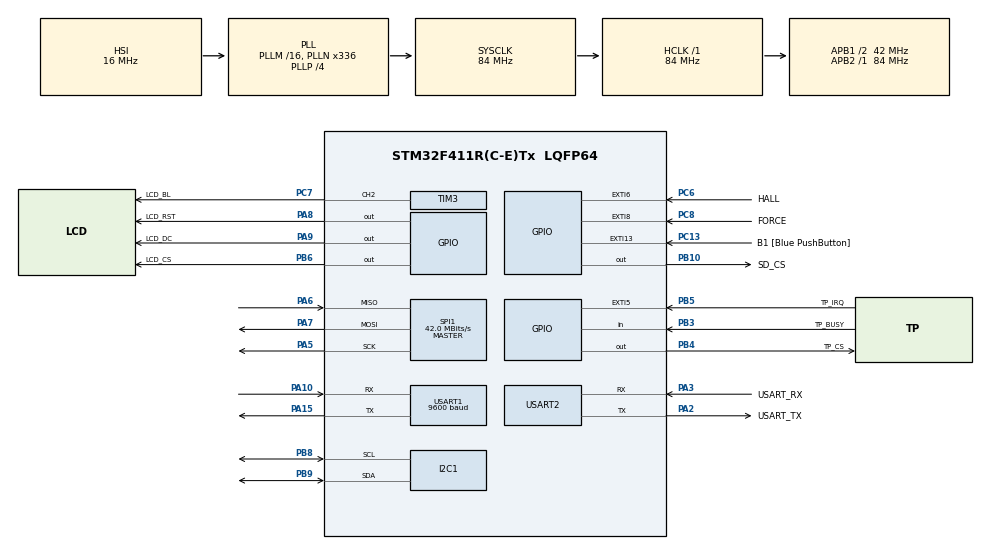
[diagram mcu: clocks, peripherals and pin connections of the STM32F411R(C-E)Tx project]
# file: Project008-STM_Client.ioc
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Mcu.Family=STM32F4
Mcu.Name=STM32F411R(C-E)Tx
Mcu.Package=LQFP64
NVIC.EXTI15_10_IRQn=true\:0\:0\:false\:false\:true\:true\:true\:true
NVIC.EXTI9_5_IRQn=true\:0\:0\:false\:false\:true\:true\:true\:true
NVIC.PriorityGroup=NVIC_PRIORITYGROUP_0
NVIC.USART1_IRQn=true\:0\:0\:false\:false\:true\:true\:true\:true
NVIC.USART2_IRQn=true\:0\:0\:false\:false\:true\:true\:true\:true
PA10.Mode=Asynchronous
PA10.Signal=USART1_RX
PA13.GPIO_Label=TMS
PA13.Mode=Serial_Wire
PA13.Signal=SYS_JTMS-SWDIO
PA14.GPIO_Label=TCK
PA14.Mode=Serial_Wire
PA14.Signal=SYS_JTCK-SWCLK
PA15.Mode=Asynchronous
PA15.Signal=USART1_TX
PA2.GPIO_Label=USART_TX
PA2.Mode=Asynchronous
PA2.Signal=USART2_TX
PA3.GPIO_Label=USART_RX
PA3.Mode=Asynchronous
PA3.Signal=USART2_RX
PA5.Mode=Full_Duplex_Master
PA5.Signal=SPI1_SCK
PA6.Mode=Full_Duplex_Master
PA6.Signal=SPI1_MISO
PA7.Mode=Full_Duplex_Master
PA7.Signal=SPI1_MOSI
PA8.GPIO_Label=LCD_RST
PA8.Signal=GPIO_Output
PA9.GPIO_Label=LCD_DC
PA9.Signal=GPIO_Output
PB10.GPIO_Label=SD_CS
PB10.Signal=GPIO_Output
PB3.GPIO_Label=TP_BUSY
PB3.Signal=GPIO_Input
PB4.GPIO_Label=TP_CS
PB4.Signal=GPIO_Output
PB5.GPIO_Label=TP_IRQ
PB5.GPIO_ModeDefaultEXTI=GPIO_MODE_IT_FALLING
PB5.GPIO_PuPd=GPIO_PULLUP
PB5.Signal=GPXTI5
PB6.GPIO_Label=LCD_CS
PB6.Signal=GPIO_Output
PB8.GPIO_Pu=GPIO_PULLUP
PB8.Mode=I2C
PB8.Signal=I2C1_SCL
PB9.GPIO_Pu=GPIO_PULLUP
PB9.Mode=I2C
PB9.Signal=I2C1_SDA
PC13-ANTI_TAMP.GPIO_Label=B1 [Blue PushButton]
PC13-ANTI_TAMP.GPIO_ModeDefaultEXTI=GPIO_MODE_IT_RISING
PC13-ANTI_TAMP.Signal=GPXTI13
PC14-OSC32_IN.Mode=LSE-External-Oscillator
PC14-OSC32_IN.Signal=RCC_OSC32_IN
PC15-OSC32_OUT.Mode=LSE-External-Oscillator
PC15-OSC32_OUT.Signal=RCC_OSC32_OUT
PC6.GPIO_Label=HALL
PC6.GPIO_ModeDefaultEXTI=GPIO_MODE_IT_RISING_FALLING
PC6.Signal=GPXTI6
PC7.GPIO_Label=LCD_BL
PC7.Signal=S_TIM3_CH2
PC8.GPIO_Label=FORCE
PC8.GPIO_ModeDefaultEXTI=GPIO_MODE_IT_RISING_FALLING
PC8.Signal=GPXTI8
PH0\ -\ OSC_IN.Mode=HSE-External-Clock-Source
PH0\ -\ OSC_IN.Signal=RCC_OSC_IN
PH1\ -\ OSC_OUT.Mode=HSE-External-Clock-Source
PH1\ -\ OSC_OUT.Signal=RCC_OSC_OUT
ProjectManager.HeapSize=0x200
ProjectManager.StackSize=0x400
ProjectManager.TargetToolchain=STM32CubeIDE
RCC.48MHZClocksFreq_Value=84000000
RCC.AHBFreq_Value=84000000
RCC.APB1CLKDivider=RCC_HCLK_DIV2
RCC.APB1Freq_Value=42000000
RCC.APB1TimFreq_Value=84000000
RCC.APB2Freq_Value=84000000
RCC.APB2TimFreq_Value=84000000
RCC.CortexFreq_Value=84000000
RCC.FLatency-AdvancedSettings=FLASH_LATENCY_2
RCC.HCLKFreq_Value=84000000
RCC.HSE_VALUE=8000000
RCC.HSI_VALUE=16000000
RCC.PLLN=336
RCC.PLLP=RCC_PLLP_DIV4
RCC.SYSCLKFreq_VALUE=84000000
RCC.SYSCLKSource=RCC_SYSCLKSOURCE_PLLCLK
RCC.VCOOutputFreq_Value=336000000
SH.S_TIM3_CH2.0=TIM3_CH2,PWM Generation2 CH2
SPI1.CalculateBaudRate=42.0 MBits/s
SPI1.Direction=SPI_DIRECTION_2LINES
SPI1.Mode=SPI_MODE_MASTER
SPI1.VirtualType=VM_MASTER
TIM3.Channel-PWM\ Generation2\ CH2=TIM_CHANNEL_2
TIM3.Period=1000-1
TIM3.Prescaler=640-1
USART1.BaudRate=9600
USART1.VirtualMode=VM_ASYNC
USART2.VirtualMode=VM_ASYNC
VP_TIM3_VS_ClockSourceINT.Mode=Internal
board=NUCLEO-F411RE

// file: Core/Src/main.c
/* USER CODE BEGIN Header */
/**
  ******************************************************************************
  * @file           : main.c
  * @brief          : Main program body
  ******************************************************************************
  * @attention
  *
  * Copyright (c) 2025 STMicroelectronics.
  * All rights reserved.
  *
  * This software is licensed under terms that can be found in the LICENSE file
  * in the root directory of this software component.
  * If no LICENSE file comes with this software, it is provided AS-IS.
  *
  ******************************************************************************
  */
/* USER CODE END Header */
#include "main.h"

/* USER CODE BEGIN Includes */
#include <string.h>
#include "heartRate.h"
#include "lcd_driver.h"
#include "lcd_gui.h"
#include "lcd_touch.h"
#include <stdbool.h>
#include <stdio.h>
#include <stdlib.h>
/* USER CODE END Includes */

I2C_HandleTypeDef hi2c1;

SPI_HandleTypeDef hspi1;

TIM_HandleTypeDef htim3;

UART_HandleTypeDef huart1;
UART_HandleTypeDef huart2;

void SystemClock_Config(void);
static void MX_GPIO_Init(void);
static void MX_USART2_UART_Init(void);
static void MX_USART1_UART_Init(void);
static void MX_I2C1_Init(void);
static void MX_TIM3_Init(void);
static void MX_SPI1_Init(void);

/* USER CODE BEGIN 0 */
#define RATE_SIZE 10
#define BUF_SIZE 100

tp_dev_t tp_dev;

uint16_t W_addr = 0xAE;
uint16_t R_addr = 0xAF;
uint8_t data;
char buf1[BUF_SIZE], buf2[BUF_SIZE]; // DMA Buffer
char dum1, dum2;
int head1 = 0, head2 = 0, tail1 = 0, tail2 = 0;
int belt_mode = 0, sit_mode = 0;	// belt mode(0: unbuckle, 1: buckle), sit mode(0: stand, 1: sit)
int belt_pe = 0, sit_pe = 0;		// belt print enable, sit print enable
int TCP_connect = 1, WIFI_connect = 1;
int last_printe = 0;
int pre_battery = 100, battery = 100, lcd_set = 0, tp_en = 0;
int hall_set = 0, force_set = 0, wifi_set = 0;
int beatAvg = 0, main_sc = 0, emer_sc = 0, desb_sc = 0;
int current_screen = 0; //0: main, 1: emergency, 2: A, 3: B
// SM has to change huart1 to huart6
int printe(char* str) {
	if((HAL_GetTick() - last_printe) < 500) {
		return 0;
	}
	else {
		char temp_str[BUF_SIZE], temp_AT[BUF_SIZE];
		int str_len = strlen(str);
		sprintf(temp_str, "%s", str);
		temp_str[str_len++] = '\r';
		temp_str[str_len++] = '\n';
		temp_str[str_len] = '\0';
		if((str_len > 2) && (str_len < 100)) {
			HAL_UART_Transmit(&huart1, "AT+CIPSEND=", 11, 10);
			sprintf(temp_AT, "4,%d\r\n", str_len);
			if(str_len < 10) {
				HAL_UART_Transmit(&huart1, temp_AT, 5, 10);
			}
			else {
				HAL_UART_Transmit(&huart1, temp_AT, 6, 10);
			}
			int n = str_len / 11;
			int i = 0;
			HAL_Delay(200);
			printf("loading..................................\r\n");
			for(i = 0; i < n; i++) {
				HAL_UART_Transmit(&huart1, temp_str + (i * 11), 11, 10);
			}
			HAL_UART_Transmit(&huart1, temp_str + (i * 11), str_len - (i * 11), 10);
		}
		last_printe = HAL_GetTick();
	}
	return 1;
}

void i2c_scan()
{
   for(int addr=0; addr<256; addr++)
   {
      if(HAL_I2C_IsDeviceReady(&hi2c1, addr, 1, 10 /* ms*/) == HAL_OK)
      {
         printf("  %02x ", addr);
      }
      else
      {
         printf("  .  ");
      }
      if((addr % 16) == 15)   printf("\r\n");
   }
}

void Moduleset()
{
    // Reset
    data = 0x40;
    HAL_I2C_Mem_Write(&hi2c1, W_addr, 0x09, 1, &data, 1, 1000);
    while(data & 0x40) {
    	HAL_I2C_Mem_Read(&hi2c1, R_addr, 0x09, 1, &data, 1, 1000);
    }
    HAL_Delay(10);

    // Interrupt Clear
    HAL_I2C_Mem_Read(&hi2c1, R_addr, 0x00, 1, &data, 1, 1000);
    HAL_I2C_Mem_Read(&hi2c1, R_addr, 0x01, 1, &data, 1, 1000);

    // Interrupt Enable
    data = 0x40;  //
    HAL_I2C_Mem_Write(&hi2c1, W_addr, 0x02, 1, &data, 1, 1000);
    HAL_Delay(10);

    // FIFO Pointer
    data = 0x00;
    HAL_I2C_Mem_Write(&hi2c1, W_addr, 0x04, 1, &data, 1, 1000);
    HAL_I2C_Mem_Write(&hi2c1, W_addr, 0x05, 1, &data, 1, 1000);
    HAL_I2C_Mem_Write(&hi2c1, W_addr, 0x06, 1, &data, 1, 1000);

    // FIFO Set
    data = 0x50;  //0b0101_0000 4 Sample Average: 4, RollOver Enable, Full Data Interrupt
    HAL_I2C_Mem_Write(&hi2c1, W_addr, 0x08, 1, &data, 1, 1000);
    HAL_Delay(10);

    // Mode Set
    data = 0x02;  // 0x01 : IR, 0x02 : RED, 0x03 : Multi
    HAL_I2C_Mem_Write(&hi2c1, W_addr, 0x09, 1, &data, 1, 1000);
    HAL_Delay(10);

    // Sampling Set - Sampling Rate : 50Hz, Pulse Width : 411μs
    data = 0x2F;  // 0b00101111
    HAL_I2C_Mem_Write(&hi2c1, W_addr, 0x0A, 1, &data, 1, 1000);
    HAL_Delay(10);

    // LED Current set
    data = 0x1F;  // MAX 50mA (0xFF) // 0x20: 14.2mA
    HAL_I2C_Mem_Write(&hi2c1, W_addr, 0x0C, 1, &data, 1, 1000);
    HAL_I2C_Mem_Write(&hi2c1, W_addr, 0x0D, 1, &data, 1, 1000);
    HAL_I2C_Mem_Write(&hi2c1, W_addr, 0x10, 1, &data, 1, 1000);
    HAL_Delay(10);

    // Slot Set
	data = 0x01;  // Slot1 : RED
	HAL_I2C_Mem_Write(&hi2c1, W_addr, 0x11, 1, &data, 1, 1000);
	HAL_Delay(10);

    // Part ID= 0x15
    HAL_I2C_Mem_Read(&hi2c1, W_addr, 0xFF, 1, &data, 1, 1000);
    printf("Part ID: 0x%02X\r\n", data);  // Default 0x15
}

int getIR() {
	uint8_t temp_dataBuffer[3];

	HAL_I2C_Mem_Read(&hi2c1, R_addr, 0x07, 1, temp_dataBuffer, 3, 1000);

	return (((uint32_t)temp_dataBuffer[0] << 16) | ((uint32_t)temp_dataBuffer[1] << 8) | (uint32_t)temp_dataBuffer[2]) & 0x03FFFF;
}

void HAL_GPIO_EXTI_Callback(uint16_t GPIO_Pin)
{
	//printf("1111111\r\n");
  switch(GPIO_Pin) {
	  case HALL_Pin:
		  if(hall_set) {
			  if(HAL_GPIO_ReadPin(HALL_GPIO_Port, HALL_Pin)) {
				  if(belt_mode) {
					  printf("unbuckle seat belt\r\n");
					  belt_mode = 0;
				  }
			  }
			  else {
				  if(!belt_mode) {
					  printf("buckle seat belt\r\n");
					  belt_mode = 1;
				  }
			  }
			  belt_pe = 1;
		  }
		  break;
	  case FORCE_Pin:
		  if(force_set) {
			  if(HAL_GPIO_ReadPin(FORCE_GPIO_Port, FORCE_Pin)) {
				  if(sit_mode) {
					  printf("stand\r\n");
					  sit_mode = 0;
				  }
			  }
			  else {
				  if(!sit_mode) {
					  printf("sit\r\n");
					  sit_mode = 1;
				  }
			  }
			  sit_pe = 1;
		  }

		  break;
	  case TP_IRQ_Pin:
		  if(lcd_set) {
			  TP_Scan(0, &tp_dev);
			  //HAL_Delay(100);
			  tp_en = 1;
			  printf("tp_en: %d\r\n", tp_en);
		  }

		  break;
	  case B1_Pin:
		  /*if(wifi_set) {
			  ESP8266_client_init();
		  }*/
		  break;
  }
}

void HAL_UART_RxCpltCallback(UART_HandleTypeDef *huart)
{
   if(huart == &huart1)
   {
	   if((dum1 != '\r') && (dum1 != '\n')) {
		   buf1[tail1++] = dum1;
		   HAL_UART_Transmit(&huart2, &dum1/*== buf1+t1-1*/, 1, 10);      // putty print
	   }

      if(dum1 == '\n')
      {
    	  if(tail1 != 0) {
    		  HAL_UART_Transmit(&huart2, "\r\n", 2, 10);
    		  buf1[tail1] = '\0';

    		  //printf("%s\r\n", buf1);
    		  if(!strncmp(buf1, "4,CONNECT", 9) || !strncmp(buf1, "ALREADY CONNECTED", 17)) {
    			  TCP_connect = 0;
    		  }
    		  if(!strncmp(buf1, "4,CLOSED", 8)) {
    			  TCP_connect = 1;
    		  }
    		  if(!strncmp(buf1, "WIFI GOT IP", 11)) {
    			  WIFI_connect = 0;
			  }
			  if(!strncmp(buf1, "WIFI DISCONNECT", 15)) {
				  WIFI_connect = 1;
			  }

			  if(!strncmp(buf1, "+IPD,", 5)) {
				  switch(buf1[9]) {													// Recieve MSG From Client
					  case '0':														// Emergency (Not use in Server)
						  if(buf1[10] == '0') {
							  emer_sc = 1;
							  /*LCD_Clear(BACKGROUND_COLOR, beatAvg, battery);  // ?���?? ?��리어
							  EmergencyMessage();*/  // 긴급 메시�?? ?��?�� ?��?�� ?���??
						  }
						  else if(buf1[10] == '1') {
							  main_sc = 1;
							  /*LCD_Clear(BACKGROUND_COLOR, beatAvg, battery);
							  Load_Touch_Draw();*/
						  }
						  break;
					  case '1':														// Origin is xxx (Not use in Server)
						  // Origin is xxx
						  break;
					  case '2':														// Destination is xxx
						  if(buf1[10] == '1') {
							  desb_sc = 1;
							  /*LCD_Clear(BACKGROUND_COLOR, beatAvg, battery);  // ?���?? ?��리어
							  EmergencyMessage();*/  // 긴급 메시�?? ?��?�� ?��?�� ?���??
						  }
						  // recieve 2xxx value ==> Destination is xxx
						  break;
					  case '3':														// Arrive at Destination (Not use in Server)
						  main_sc = 1;
						  /*LCD_Clear(BACKGROUND_COLOR, beatAvg, battery);
						  Load_Touch_Draw();*/
						  break;
					  case '4':														// Hall Sensor
						  break;
					  case '5':														// Force Sensor
						  break;
					  case '6':														// Heart Beat Sensor
						  break;
					  case '7':														// Voltage Sensor (Not use in Server)
						  printf("remain battery: %s%", buf1 + 10);
						  battery = atoi(buf1 + 10);
						  break;
					  case '8':														// STM Client
						  break;
				  }
			  }
		  }
    	  tail1 = 0;
      }
      HAL_UART_Receive_IT(&huart1, &dum1, 1);         // interrupt chain
   }

   else if(huart == &huart2)
   {
      buf2[tail2++] = dum2;
      HAL_UART_Transmit(&huart2, &dum2, 1, 10); // terminal echo
      if(dum2 == '\r')  // CR : 0x0d
      {
         HAL_UART_Transmit(&huart2, "\n", 1, 10); // terminal echo

         buf2[tail2++] = '\n'; // == HAL_UART_Transmit(&huart1, "\n", 1, 10);
         HAL_UART_Transmit(&huart1, buf2, tail2, 10);   // AT Command
//         HAL_UART_Transmit(&huart1, "\n", 1, 10);
         tail2 = 0;
      }
      HAL_UART_Receive_IT(&huart2, &dum2, 1);
   }
}

void ESP8266_client_init(){
	/*HAL_UART_Transmit(&huart1, "AT+RST\r\n", 8, 10);					// RESET
	HAL_Delay(1000);*/

	HAL_UART_Transmit(&huart1, "AT+CWMODE=1", 11, 10);				// 1: CLIENT MODE, 2: SERVER MODE, 3: Multi mode
	HAL_UART_Transmit(&huart1, "\r\n", 2, 10);
	HAL_Delay(100);

	while(WIFI_connect) { // HARMAN WIFI CONNECT
		HAL_UART_Transmit(&huart1, "AT+CWJAP=\"P", 11, 10);
		HAL_UART_Transmit(&huart1, "rocessor2.4", 11, 10);
		HAL_UART_Transmit(&huart1, "G\",\"Process", 11, 10);
		HAL_UART_Transmit(&huart1, "or1234\"\r\n", 9, 10);      // SERVER Connect
		HAL_Delay(400);
	}

	/*while(WIFI_connect) { // DY WIFI CONNECT
		HAL_UART_Transmit(&huart1, "AT+CWJAP=\"", 10, 10);
		HAL_UART_Transmit(&huart1, "ssosso\",\"19", 11, 10);
		HAL_UART_Transmit(&huart1, "980501\"\r\n", 9, 10);			// SERVER Connect
		HAL_Delay(1000);
	}*/

	printf("connect WIFI\r\n");

	HAL_UART_Transmit(&huart1, "AT+CIPMUX=1", 11, 10);				// 0: single connection mode, 1: multi connection mode
	HAL_UART_Transmit(&huart1, "\r\n", 2, 10);
	HAL_Delay(100);

	// STM TCP SERVER CONNECT
	/*while(TCP_connect) {
		HAL_UART_Transmit(&huart1, "AT+CIPSTART", 11, 10);
		HAL_UART_Transmit(&huart1, "=4,\"TCP\",\"1", 11, 10);
		HAL_UART_Transmit(&huart1, "92.168.4.1\"", 11, 10);
		HAL_UART_Transmit(&huart1, ",3000\r\n", 7, 10);		// SERVER Connect
		HAL_Delay(1000);
	}*/

	// DY TCP SERVER CONNECT
	/*while(TCP_connect) {
		HAL_UART_Transmit(&huart1, "AT+CIPSTART", 11, 10);
		HAL_UART_Transmit(&huart1, "=4,\"TCP\",\"1", 11, 10);
		HAL_UART_Transmit(&huart1, "92.168.96.1", 11, 10);
		HAL_UART_Transmit(&huart1, "60\",3000\r\n", 10, 10);		// SERVER Connect
		HAL_Delay(1000);
	}*/

	// HARMAN TCP SERVER CONNECT
	while(TCP_connect) {
		HAL_UART_Transmit(&huart1, "AT+CIPSTART", 11, 10);
		HAL_UART_Transmit(&huart1, "=4,\"TCP\",\"1", 11, 10);
		HAL_UART_Transmit(&huart1, "92.168.0.69", 11, 10);
		HAL_UART_Transmit(&huart1, "\",3000\r\n", 8, 10);      // SERVER Connect
		HAL_Delay(400);
	}

	HAL_Delay(500);
	while(!printe("8100"));
	printf("connect TCP server\r\n");

	/*HAL_UART_Transmit(&huart1, "AT+CIFSR", 11, 10);					// Show IP & MAC Address
	HAL_UART_Transmit(&huart1, "\r\n", 2, 10);
	HAL_Delay(10);*/
}
/* USER CODE END 0 */

int main(void)
{

  /* MCU Configuration--------------------------------------------------------*/

  /* Reset of all peripherals, Initializes the Flash interface and the Systick. */
  HAL_Init();

  /* Configure the system clock */
  SystemClock_Config();

  /* Initialize all configured peripherals */
  MX_GPIO_Init();
  MX_USART2_UART_Init();
  MX_USART1_UART_Init();
  MX_I2C1_Init();
  MX_TIM3_Init();
  MX_SPI1_Init();
  /* USER CODE BEGIN 2 */
  ProgramStart("STM Client");
  UART_Start_Receive_IT(&huart1, &dum1, 1);
  UART_Start_Receive_IT(&huart2, &dum2, 1);
  ESP8266_client_init();
  i2c_scan();
  Moduleset();
  LCD_Clear(BACKGROUND_COLOR, 0, 100);
  TP_Init(&tp_dev);
  Lcd_Init();

  Load_Touch_Draw(&tp_dev);

  // LED Current set
  data = 0x0A;  // MAX 50mA (0xFF) // 0x20: 14.2mA
  HAL_I2C_Mem_Write(&hi2c1, W_addr, 0x0C, 1, &data, 1, 1000);
  HAL_Delay(5000);
  lcd_set = 1;
  force_set = 1;
  hall_set = 1;
  wifi_set = 1;
  /* USER CODE END 2 */

  /* Infinite loop */
  /* USER CODE BEGIN WHILE */
  int rates[RATE_SIZE] = {0, };
  int rateSpot = 0;
  double beatsPerMinute = 0;
  int beat_cnt = 0;
  int lastBeat = 0;
  int pre_beat_mode = 0, beat_mode = 0;	//0: no finger, 1: normal, 2: abnormal
  int IRValue = 0;
  int last_bpm_update_time = 0;
  int pre_bpm = 0;
  while (1)
  {
	  HAL_I2C_Mem_Read(&hi2c1, R_addr, 0x00, 1, &data, 1, 1000);
	  if(data & 0x40) {
		  IRValue = getIR();

		  if(checkForBeat(IRValue)) {
			  int delta = HAL_GetTick() - lastBeat;
			  lastBeat = HAL_GetTick();

			  beatsPerMinute = 60 / (delta / 1000.0);

			  if ((beatsPerMinute < 255) && (beatsPerMinute > 20)) {
				rates[rateSpot++] = beatsPerMinute; //Store this reading in the array
				rateSpot %= RATE_SIZE; //Wrap variable

				//Take average of readings
				for (int x = 0 ; x < RATE_SIZE ; x++){
					beatAvg += rates[x];
				}
				beatAvg /= RATE_SIZE;
			  }

			  if(pre_beat_mode != beat_mode) {
				  beat_cnt++;
			  }
			  else {
				  beat_cnt = 0;
			  }
		  }

		  if(IRValue < 10000) {
			  beat_mode = 0;
		  }
		  else {
			  if((beatsPerMinute > 50) && (beatsPerMinute < 120)) {
				  beat_mode = 1;
			  }
			  else {
				  beat_mode = 2;
			  }
			  printf("IRValue: %5d, BPM: %5.2f, avg_BPM: %3d\r\n", IRValue, beatsPerMinute, beatAvg);
		  }
	  }

	  if (HAL_GetTick() - last_bpm_update_time >= 1000)  // 1초�? 경과?��?�� ?��
	  {
		  //Update_BPM_Text(38, 23, beatAvg);
		  //heartbeat = rand() % 41 + 60;  // 60 ~ 100 ?��?��?�� ?��?�� BPM �???? ?��?��
		  if((IRValue >= 10000) && (pre_bpm != beatAvg)) {
			  Update_BPM_Text(38, 23, beatAvg);
			  pre_bpm = beatAvg;
		  }
		  last_bpm_update_time = HAL_GetTick();  // 마�?�???? ?��?��?��?�� ?���???? 기록
	  }

	  // beat printe
	  if((pre_beat_mode != beat_mode) && ((beat_cnt == 10) || (beat_mode == 0))) {
		  switch(beat_mode) {
			  case 0:
				  while(!printe("6000"));
				  Update_BPM_Text(38, 23, 0);  // BPM ?��?��?�� 갱신
				  break;
			  case 1:
				  while(!printe("6100"));
				  Update_BPM_Text(38, 23, beatAvg);
				  break;
			  case 2:
				  while(!printe("6200"));
				  Update_BPM_Text(38, 23, beatAvg);
				  break;
		  }
		  beat_cnt = 0;
		  pre_beat_mode = beat_mode;
	  }

	  // sit & belt printe
	  if(belt_pe) {
		  if(belt_mode) {
			  while(!printe("4100"));
		  }
		  else {
			  while(!printe("4000"));
		  }
		  belt_pe = 0;
	  }
	  if(sit_pe) {
		  if(sit_mode) {
			  while(!printe("5100"));
		  }
		  else {
			  while(!printe("5000"));
		  }
		  sit_pe = 0;
	  }

	  if(tp_en) {
		  if(IRValue < 10000) {
			  TP_test(0, battery, &current_screen, &tp_dev);
		  }
		  else {
			  TP_test(beatAvg, battery, &current_screen, &tp_dev);
		  }
		  tp_en = 0;
	  }

	  if(pre_battery != battery) {
		  Draw_Battery(battery);
		  pre_battery = battery;
	  }

	  if(main_sc && (current_screen != 0)) {
		  LCD_Clear(BACKGROUND_COLOR, beatAvg, battery);
		  Load_Touch_Draw(&tp_dev);
		  current_screen = 0;
		  main_sc = 0;
	  }

	  if(emer_sc && (current_screen != 1)) {
		  LCD_Clear(BACKGROUND_COLOR, beatAvg, battery);  // ?���?? ?��리어
		  EmergencyMessage();
		  current_screen = 1;
		  emer_sc = 0;
	  }

	  if(desb_sc && (current_screen != 3)) {
		  LCD_Clear(BACKGROUND_COLOR, beatAvg, battery);  // ?���?? ?��리어
		  ShowDestB();
		  current_screen = 3;
		  desb_sc = 0;
	  }

    /* USER CODE END WHILE */

  }
}

void SystemClock_Config(void)
{
  RCC_OscInitTypeDef RCC_OscInitStruct = {0};
  RCC_ClkInitTypeDef RCC_ClkInitStruct = {0};

  /** Configure the main internal regulator output voltage
  */
  __HAL_RCC_PWR_CLK_ENABLE();
  __HAL_PWR_VOLTAGESCALING_CONFIG(PWR_REGULATOR_VOLTAGE_SCALE1);

  /** Initializes the RCC Oscillators according to the specified parameters
  * in the RCC_OscInitTypeDef structure.
  */
  RCC_OscInitStruct.OscillatorType = RCC_OSCILLATORTYPE_HSI;
  RCC_OscInitStruct.HSIState = RCC_HSI_ON;
  RCC_OscInitStruct.HSICalibrationValue = RCC_HSICALIBRATION_DEFAULT;
  RCC_OscInitStruct.PLL.PLLState = RCC_PLL_ON;
  RCC_OscInitStruct.PLL.PLLSource = RCC_PLLSOURCE_HSI;
  RCC_OscInitStruct.PLL.PLLM = 16;
  RCC_OscInitStruct.PLL.PLLN = 336;
  RCC_OscInitStruct.PLL.PLLP = RCC_PLLP_DIV4;
  RCC_OscInitStruct.PLL.PLLQ = 4;
  if (HAL_RCC_OscConfig(&RCC_OscInitStruct) != HAL_OK)
  {
    Error_Handler();
  }

  /** Initializes the CPU, AHB and APB buses clocks
  */
  RCC_ClkInitStruct.ClockType = RCC_CLOCKTYPE_HCLK|RCC_CLOCKTYPE_SYSCLK
                              |RCC_CLOCKTYPE_PCLK1|RCC_CLOCKTYPE_PCLK2;
  RCC_ClkInitStruct.SYSCLKSource = RCC_SYSCLKSOURCE_PLLCLK;
  RCC_ClkInitStruct.AHBCLKDivider = RCC_SYSCLK_DIV1;
  RCC_ClkInitStruct.APB1CLKDivider = RCC_HCLK_DIV2;
  RCC_ClkInitStruct.APB2CLKDivider = RCC_HCLK_DIV1;

  if (HAL_RCC_ClockConfig(&RCC_ClkInitStruct, FLASH_LATENCY_2) != HAL_OK)
  {
    Error_Handler();
  }
}

static void MX_I2C1_Init(void)
{

  hi2c1.Instance = I2C1;
  hi2c1.Init.ClockSpeed = 100000;
  hi2c1.Init.DutyCycle = I2C_DUTYCYCLE_2;
  hi2c1.Init.OwnAddress1 = 0;
  hi2c1.Init.AddressingMode = I2C_ADDRESSINGMODE_7BIT;
  hi2c1.Init.DualAddressMode = I2C_DUALADDRESS_DISABLE;
  hi2c1.Init.OwnAddress2 = 0;
  hi2c1.Init.GeneralCallMode = I2C_GENERALCALL_DISABLE;
  hi2c1.Init.NoStretchMode = I2C_NOSTRETCH_DISABLE;
  if (HAL_I2C_Init(&hi2c1) != HAL_OK)
  {
    Error_Handler();
  }

}

static void MX_SPI1_Init(void)
{

  /* SPI1 parameter configuration*/
  hspi1.Instance = SPI1;
  hspi1.Init.Mode = SPI_MODE_MASTER;
  hspi1.Init.Direction = SPI_DIRECTION_2LINES;
  hspi1.Init.DataSize = SPI_DATASIZE_8BIT;
  hspi1.Init.CLKPolarity = SPI_POLARITY_LOW;
  hspi1.Init.CLKPhase = SPI_PHASE_1EDGE;
  hspi1.Init.NSS = SPI_NSS_SOFT;
  hspi1.Init.BaudRatePrescaler = SPI_BAUDRATEPRESCALER_2;
  hspi1.Init.FirstBit = SPI_FIRSTBIT_MSB;
  hspi1.Init.TIMode = SPI_TIMODE_DISABLE;
  hspi1.Init.CRCCalculation = SPI_CRCCALCULATION_DISABLE;
  hspi1.Init.CRCPolynomial = 10;
  if (HAL_SPI_Init(&hspi1) != HAL_OK)
  {
    Error_Handler();
  }

}

static void MX_TIM3_Init(void)
{

  TIM_ClockConfigTypeDef sClockSourceConfig = {0};
  TIM_MasterConfigTypeDef sMasterConfig = {0};
  TIM_OC_InitTypeDef sConfigOC = {0};

  htim3.Instance = TIM3;
  htim3.Init.Prescaler = 640-1;
  htim3.Init.CounterMode = TIM_COUNTERMODE_UP;
  htim3.Init.Period = 1000-1;
  htim3.Init.ClockDivision = TIM_CLOCKDIVISION_DIV1;
  htim3.Init.AutoReloadPreload = TIM_AUTORELOAD_PRELOAD_DISABLE;
  if (HAL_TIM_Base_Init(&htim3) != HAL_OK)
  {
    Error_Handler();
  }
  sClockSourceConfig.ClockSource = TIM_CLOCKSOURCE_INTERNAL;
  if (HAL_TIM_ConfigClockSource(&htim3, &sClockSourceConfig) != HAL_OK)
  {
    Error_Handler();
  }
  if (HAL_TIM_PWM_Init(&htim3) != HAL_OK)
  {
    Error_Handler();
  }
  sMasterConfig.MasterOutputTrigger = TIM_TRGO_RESET;
  sMasterConfig.MasterSlaveMode = TIM_MASTERSLAVEMODE_DISABLE;
  if (HAL_TIMEx_MasterConfigSynchronization(&htim3, &sMasterConfig) != HAL_OK)
  {
    Error_Handler();
  }
  sConfigOC.OCMode = TIM_OCMODE_PWM1;
  sConfigOC.Pulse = 0;
  sConfigOC.OCPolarity = TIM_OCPOLARITY_HIGH;
  sConfigOC.OCFastMode = TIM_OCFAST_DISABLE;
  if (HAL_TIM_PWM_ConfigChannel(&htim3, &sConfigOC, TIM_CHANNEL_2) != HAL_OK)
  {
    Error_Handler();
  }
  HAL_TIM_MspPostInit(&htim3);

}

static void MX_USART1_UART_Init(void)
{

  huart1.Instance = USART1;
  huart1.Init.BaudRate = 9600;
  huart1.Init.WordLength = UART_WORDLENGTH_8B;
  huart1.Init.StopBits = UART_STOPBITS_1;
  huart1.Init.Parity = UART_PARITY_NONE;
  huart1.Init.Mode = UART_MODE_TX_RX;
  huart1.Init.HwFlowCtl = UART_HWCONTROL_NONE;
  huart1.Init.OverSampling = UART_OVERSAMPLING_16;
  if (HAL_UART_Init(&huart1) != HAL_OK)
  {
    Error_Handler();
  }

}

static void MX_USART2_UART_Init(void)
{

  huart2.Instance = USART2;
  huart2.Init.BaudRate = 115200;
  huart2.Init.WordLength = UART_WORDLENGTH_8B;
  huart2.Init.StopBits = UART_STOPBITS_1;
  huart2.Init.Parity = UART_PARITY_NONE;
  huart2.Init.Mode = UART_MODE_TX_RX;
  huart2.Init.HwFlowCtl = UART_HWCONTROL_NONE;
  huart2.Init.OverSampling = UART_OVERSAMPLING_16;
  if (HAL_UART_Init(&huart2) != HAL_OK)
  {
    Error_Handler();
  }

}

static void MX_GPIO_Init(void)
{
  GPIO_InitTypeDef GPIO_InitStruct = {0};

  /* GPIO Ports Clock Enable */
  __HAL_RCC_GPIOC_CLK_ENABLE();
  __HAL_RCC_GPIOH_CLK_ENABLE();
  __HAL_RCC_GPIOA_CLK_ENABLE();
  __HAL_RCC_GPIOB_CLK_ENABLE();

  /*Configure GPIO pin Output Level */
  HAL_GPIO_WritePin(GPIOB, SD_CS_Pin|TP_CS_Pin|LCD_CS_Pin, GPIO_PIN_RESET);

  /*Configure GPIO pin Output Level */
  HAL_GPIO_WritePin(GPIOA, LCD_RST_Pin|LCD_DC_Pin, GPIO_PIN_RESET);

  /*Configure GPIO pin : B1_Pin */
  GPIO_InitStruct.Pin = B1_Pin;
  GPIO_InitStruct.Mode = GPIO_MODE_IT_RISING;
  GPIO_InitStruct.Pull = GPIO_NOPULL;
  HAL_GPIO_Init(B1_GPIO_Port, &GPIO_InitStruct);

  /*Configure GPIO pins : SD_CS_Pin TP_CS_Pin LCD_CS_Pin */
  GPIO_InitStruct.Pin = SD_CS_Pin|TP_CS_Pin|LCD_CS_Pin;
  GPIO_InitStruct.Mode = GPIO_MODE_OUTPUT_PP;
  GPIO_InitStruct.Pull = GPIO_NOPULL;
  GPIO_InitStruct.Speed = GPIO_SPEED_FREQ_LOW;
  HAL_GPIO_Init(GPIOB, &GPIO_InitStruct);

  /*Configure GPIO pins : HALL_Pin FORCE_Pin */
  GPIO_InitStruct.Pin = HALL_Pin|FORCE_Pin;
  GPIO_InitStruct.Mode = GPIO_MODE_IT_RISING_FALLING;
  GPIO_InitStruct.Pull = GPIO_NOPULL;
  HAL_GPIO_Init(GPIOC, &GPIO_InitStruct);

  /*Configure GPIO pins : LCD_RST_Pin LCD_DC_Pin */
  GPIO_InitStruct.Pin = LCD_RST_Pin|LCD_DC_Pin;
  GPIO_InitStruct.Mode = GPIO_MODE_OUTPUT_PP;
  GPIO_InitStruct.Pull = GPIO_NOPULL;
  GPIO_InitStruct.Speed = GPIO_SPEED_FREQ_LOW;
  HAL_GPIO_Init(GPIOA, &GPIO_InitStruct);

  /*Configure GPIO pin : TP_BUSY_Pin */
  GPIO_InitStruct.Pin = TP_BUSY_Pin;
  GPIO_InitStruct.Mode = GPIO_MODE_INPUT;
  GPIO_InitStruct.Pull = GPIO_NOPULL;
  HAL_GPIO_Init(TP_BUSY_GPIO_Port, &GPIO_InitStruct);

  /*Configure GPIO pin : TP_IRQ_Pin */
  GPIO_InitStruct.Pin = TP_IRQ_Pin;
  GPIO_InitStruct.Mode = GPIO_MODE_IT_FALLING;
  GPIO_InitStruct.Pull = GPIO_PULLUP;
  HAL_GPIO_Init(TP_IRQ_GPIO_Port, &GPIO_InitStruct);

  /* EXTI interrupt init*/
  HAL_NVIC_SetPriority(EXTI9_5_IRQn, 0, 0);
  HAL_NVIC_EnableIRQ(EXTI9_5_IRQn);

  HAL_NVIC_SetPriority(EXTI15_10_IRQn, 0, 0);
  HAL_NVIC_EnableIRQ(EXTI15_10_IRQn);

}

void Error_Handler(void)
{
  __disable_irq();
  while (1)
  {
  }
}
